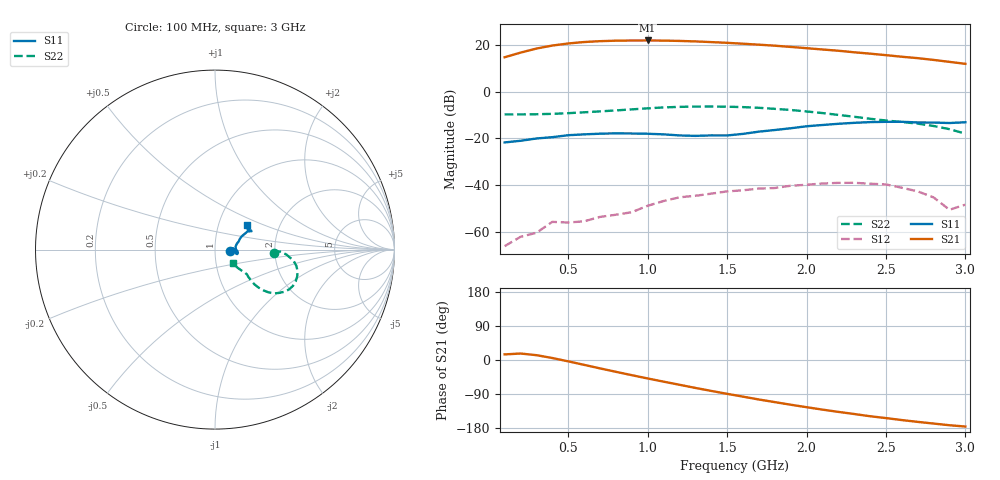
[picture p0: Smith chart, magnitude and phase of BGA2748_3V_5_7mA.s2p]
! Bias: Vs=3.00 V; Is=5.66 mA
#  MHz  S  MA  R 50
! Freq  S11  S21  S12  S22
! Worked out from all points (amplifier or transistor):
!   30 points, 100 MHz to 3 GHz, reference 50 ohm
!   highest |S21| = 22.0 dB at 1 GHz (marker M1)
!   |S21| within 3 dB of that: 336.4 MHz to 1.944 GHz (1.607 GHz wide, 141 % of centre)
!   unconditionally stable (mu >= 1): start of sweep to end of sweep
!   at 600 MHz: K = 21.88, MAG = 22.0 dB, |S12| = -55.4 dB
!   at 1.6 GHz: K = 4.68, MAG = 21.7 dB, |S12| = -42.2 dB
!   at 3 GHz: K = 30.72, MAG = 12.2 dB, |S12| = -48.3 dB
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100  0.08234 -6.1  5.47 14.8  0.000497 -92.6  0.3271 -3.6
200  0.08934 1.5  6.87 17.1  0.000787 -91.6  0.3276 -2.3
300  0.09999 4.1  8.399 12.8  0.000961 -94.5  0.3304 -2.0
400  0.1068 1.6  9.737 5.3  0.001645 -108.6  0.3369 -1.5
500  0.1176 -1.2  10.79 -3.6  0.001595 -113.9  0.3481 -1.7
600  0.1226 -2.6  11.59 -12.7  0.001689 -119.4  0.3633 -1.8
700  0.1266 -5.8  12.09 -22.1  0.0021 -116.5  0.3802 -2.8
800  0.129 -8.8  12.37 -31.1  0.002337 -113.0  0.3988 -3.9
1000  0.1263 -11.2  12.52 -48.7  0.003632 -129.6  0.4418 -8.1
1100  0.1226 -11.4  12.43 -57.1  0.004591 -135.9  0.4623 -11.2
1200  0.1163 -9.6  12.23 -65.3  0.005512 -140.5  0.4749 -14.5
1300  0.1138 -2.6  11.95 -73.6  0.005948 -147.3  0.4819 -18.1
1500  0.1161 8.7  11.15 -89.2  0.007379 -157.3  0.4791 -24.9
1600  0.1255 14.9  10.66 -96.7  0.007794 -163.4  0.4693 -28.1
1800  0.1518 23.7  9.678 -111.1  0.008715 -176.5  0.4311 -34.0
1900  0.1655 26.3  9.107 -118.0  0.009748 179.0  0.4077 -36.8
2100  0.1943 28.3  8.029 -130.9  0.01087 165.2  0.3502 -40.2
2200  0.2063 29.3  7.548 -136.9  0.01124 160.7  0.32 -41.1
2400  0.2242 28.4  6.536 -148.4  0.01079 146.9  0.2644 -40.4
2600  0.2278 26.7  5.612 -158.5  0.008842 131.1  0.2254 -37.9
2900  0.2144 33.4  4.358 -172.2  0.002991 149.0  0.1583 -38.8
3000  0.2225 37.2  3.957 -175.6  0.003845 -160.7  0.1269 -37.6
